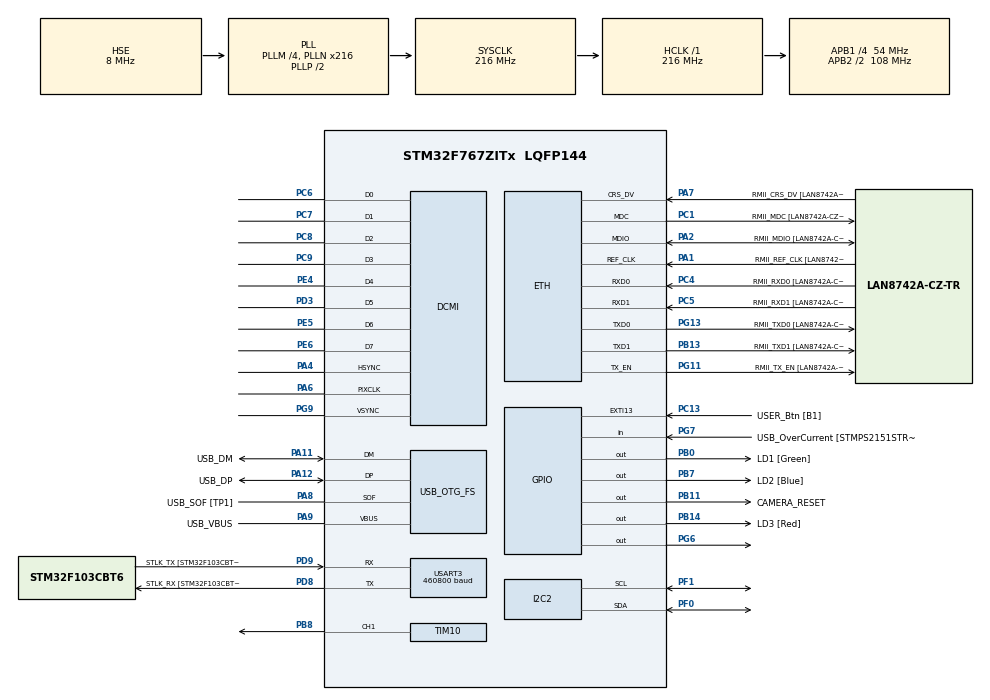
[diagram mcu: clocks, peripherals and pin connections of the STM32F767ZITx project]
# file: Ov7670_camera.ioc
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DCMI.ByteSelectMode=DCMI_BSM_ALL
DCMI.JPEGMode=DCMI_JPEG_DISABLE
DCMI.PCKPolarity=DCMI_PCKPOLARITY_RISING
DCMI.VSPolarity=DCMI_VSPOLARITY_HIGH
Dma.DCMI.0.Direction=DMA_PERIPH_TO_MEMORY
Dma.DCMI.0.FIFOMode=DMA_FIFOMODE_DISABLE
Dma.DCMI.0.Instance=DMA2_Stream1
Dma.DCMI.0.MemDataAlignment=DMA_MDATAALIGN_WORD
Dma.DCMI.0.MemInc=DMA_MINC_ENABLE
Dma.DCMI.0.Mode=DMA_CIRCULAR
Dma.DCMI.0.PeriphDataAlignment=DMA_PDATAALIGN_WORD
Dma.DCMI.0.PeriphInc=DMA_PINC_DISABLE
Dma.DCMI.0.Priority=DMA_PRIORITY_VERY_HIGH
Dma.Request0=DCMI
ETH.MediaInterface=HAL_ETH_RMII_MODE
ETH.PHY_Name=LAN8742A_PHY_ADDRESS
ETH.PHY_Value=0
ETH.PhyAddress=0
I2C2.Timing=0x20404768
JPEG.JPEG_RGB_FORMAT=JPEG_RGB565
JPEG.USE_JPEG_DECODER=0
Mcu.Family=STM32F7
Mcu.Name=STM32F767ZITx
Mcu.Package=LQFP144
NVIC.DCMI_IRQn=true\:0\:0\:false\:false\:true\:true\:true\:true
NVIC.DMA2_Stream1_IRQn=true\:0\:0\:false\:false\:true\:false\:true\:true
NVIC.JPEG_IRQn=true\:0\:0\:false\:false\:true\:true\:true\:true
NVIC.PriorityGroup=NVIC_PRIORITYGROUP_4
PA1.GPIO_Label=RMII_REF_CLK [LAN8742A-CZ-TR_REFCLK0]
PA1.Mode=RMII
PA1.Signal=ETH_REF_CLK
PA10.GPIO_Label=USB_ID
PA10.Signal=USB_OTG_FS_ID
PA11.GPIO_Label=USB_DM
PA11.Mode=Device_Only
PA11.Signal=USB_OTG_FS_DM
PA12.GPIO_Label=USB_DP
PA12.Mode=Device_Only
PA12.Signal=USB_OTG_FS_DP
PA13.GPIO_Label=TMS
PA13.Mode=Serial_Wire
PA13.Signal=SYS_JTMS-SWDIO
PA14.GPIO_Label=TCK
PA14.Mode=Serial_Wire
PA14.Signal=SYS_JTCK-SWCLK
PA2.GPIO_Label=RMII_MDIO [LAN8742A-CZ-TR_MDIO]
PA2.Mode=RMII
PA2.Signal=ETH_MDIO
PA4.Mode=Slave_8_bits_External_Synchro
PA4.Signal=DCMI_HSYNC
PA6.Mode=Slave_8_bits_External_Synchro
PA6.Signal=DCMI_PIXCLK
PA7.GPIO_Label=RMII_CRS_DV [LAN8742A-CZ-TR_CRS_DV]
PA7.Mode=RMII
PA7.Signal=ETH_CRS_DV
PA8.GPIO_Label=USB_SOF [TP1]
PA8.Mode=Activate_SOF_FS
PA8.Signal=USB_OTG_FS_SOF
PA9.GPIO_Label=USB_VBUS
PA9.Mode=Activate_VBUS
PA9.Signal=USB_OTG_FS_VBUS
PB0.GPIO_Label=LD1 [Green]
PB0.Signal=GPIO_Output
PB11.GPIO_Label=CAMERA_RESET
PB11.GPIO_PuPd=GPIO_PULLUP
PB11.Signal=GPIO_Output
PB13.GPIO_Label=RMII_TXD1 [LAN8742A-CZ-TR_TXD1]
PB13.Mode=RMII
PB13.Signal=ETH_TXD1
PB14.GPIO_Label=LD3 [Red]
PB14.Signal=GPIO_Output
PB3.GPIO_Label=SWO
PB3.Signal=SYS_JTDO-SWO
PB7.GPIO_Label=LD2 [Blue]
PB7.Signal=GPIO_Output
PB8.Signal=S_TIM10_CH1
PC1.GPIO_Label=RMII_MDC [LAN8742A-CZ-TR_MDC]
PC1.Mode=RMII
PC1.Signal=ETH_MDC
PC13.GPIO_Label=USER_Btn [B1]
PC13.Signal=GPXTI13
PC14/OSC32_IN.Mode=LSE-External-Oscillator
PC14/OSC32_IN.Signal=RCC_OSC32_IN
PC15/OSC32_OUT.Mode=LSE-External-Oscillator
PC15/OSC32_OUT.Signal=RCC_OSC32_OUT
PC4.GPIO_Label=RMII_RXD0 [LAN8742A-CZ-TR_RXD0]
PC4.Mode=RMII
PC4.Signal=ETH_RXD0
PC5.GPIO_Label=RMII_RXD1 [LAN8742A-CZ-TR_RXD1]
PC5.Mode=RMII
PC5.Signal=ETH_RXD1
PC6.Mode=Slave_8_bits_External_Synchro
PC6.Signal=DCMI_D0
PC7.Mode=Slave_8_bits_External_Synchro
PC7.Signal=DCMI_D1
PC8.Mode=Slave_8_bits_External_Synchro
PC8.Signal=DCMI_D2
PC9.Mode=Slave_8_bits_External_Synchro
PC9.Signal=DCMI_D3
PD3.Mode=Slave_8_bits_External_Synchro
PD3.Signal=DCMI_D5
PD8.GPIO_Label=STLK_RX [STM32F103CBT6_PA3]
PD8.Mode=Asynchronous
PD8.Signal=USART3_TX
PD9.GPIO_Label=STLK_TX [STM32F103CBT6_PA2]
PD9.Mode=Asynchronous
PD9.Signal=USART3_RX
PE4.Mode=Slave_8_bits_External_Synchro
PE4.Signal=DCMI_D4
PE5.Mode=Slave_8_bits_External_Synchro
PE5.Signal=DCMI_D6
PE6.Mode=Slave_8_bits_External_Synchro
PE6.Signal=DCMI_D7
PF0.GPIO_Pu=GPIO_PULLUP
PF0.Mode=I2C
PF0.Signal=I2C2_SDA
PF1.GPIO_Pu=GPIO_PULLUP
PF1.Mode=I2C
PF1.Signal=I2C2_SCL
PG11.GPIO_Label=RMII_TX_EN [LAN8742A-CZ-TR_TXEN]
PG11.Mode=RMII
PG11.Signal=ETH_TX_EN
PG13.GPIO_Label=RMII_TXD0 [LAN8742A-CZ-TR_TXD0]
PG13.Mode=RMII
PG13.Signal=ETH_TXD0
PG6.Signal=GPIO_Output
PG7.GPIO_Label=USB_OverCurrent [STMPS2151STR_FAULT]
PG7.Signal=GPIO_Input
PG9.Mode=Slave_8_bits_External_Synchro
PG9.Signal=DCMI_VSYNC
PH0/OSC_IN.GPIO_Label=MCO [STM32F103CBT6_PA8]
PH0/OSC_IN.Mode=HSE-External-Clock-Source
PH0/OSC_IN.Signal=RCC_OSC_IN
PH1/OSC_OUT.Mode=HSE-External-Clock-Source
PH1/OSC_OUT.Signal=RCC_OSC_OUT
ProjectManager.HeapSize=0x200
ProjectManager.StackSize=0x400
ProjectManager.TargetToolchain=STM32CubeIDE
RCC.48MHZClocksFreq_Value=24000000
RCC.AHBFreq_Value=216000000
RCC.APB1CLKDivider=RCC_HCLK_DIV4
RCC.APB1Freq_Value=54000000
RCC.APB1TimFreq_Value=108000000
RCC.APB2CLKDivider=RCC_HCLK_DIV2
RCC.APB2Freq_Value=108000000
RCC.APB2TimFreq_Value=216000000
RCC.CortexFreq_Value=216000000
RCC.HCLKFreq_Value=216000000
RCC.HSE_VALUE=8000000
RCC.HSI_VALUE=16000000
RCC.PLLM=4
RCC.PLLMUL=RCC_PLL_MUL9
RCC.PLLN=216
RCC.PLLQ=9
RCC.PRESCALERUSB=RCC_USBCLKSOURCE_PLL_DIV1_5
RCC.SYSCLKFreq_VALUE=216000000
RCC.SYSCLKSource=RCC_SYSCLKSOURCE_PLLCLK
RCC.SYSCLKSourceVirtual=RCC_SYSCLKSOURCE_PLLCLK
RCC.USBFreq_Value=48000000
RCC.VCOOutputFreq_Value=432000000
SH.S_TIM10_CH1.0=TIM10_CH1,Output Compare1 CH1
TIM10.Channel=TIM_CHANNEL_1
TIM10.OCMode_1=TIM_OCMODE_TOGGLE
TIM10.Period=5-1
TIM10.Pulse=1
USART3.BaudRate=460800
USART3.OverSampling=UART_OVERSAMPLING_8
USART3.VirtualMode-Asynchronous=VM_ASYNC
USB_OTG_FS.VirtualMode=Device_Only
VP_JPEG_VS_JPEG.Mode=JPEG_Activate
VP_TIM10_VS_ClockSourceINT.Mode=Enable_Timer
board=NUCLEO-F767ZI

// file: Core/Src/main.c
/* USER CODE BEGIN Header */
/**
  ******************************************************************************
  * @file           : main.c
  * @brief          : Main program body
  ******************************************************************************
  * @attention
  *
  * Copyright (c) 2023 STMicroelectronics.
  * All rights reserved.
  *
  * This software is licensed under terms that can be found in the LICENSE file
  * in the root directory of this software component.
  * If no LICENSE file comes with this software, it is provided AS-IS.
  *
  ******************************************************************************
  */
/* USER CODE END Header */
#include "main.h"
#include "dcmi.h"
#include "dma.h"
#include "eth.h"
#include "i2c.h"
#include "jpeg.h"
#include "tim.h"
#include "usart.h"
#include "usb_otg.h"
#include "gpio.h"

/* USER CODE BEGIN Includes */
#include "gpio.h"
#include "tim.h"
#include "dcmi.h"
#include "ov7670.h"
/* USER CODE END Includes */

/* USER CODE BEGIN PM */
uint8_t imagebuf[OV7670_WIDTH * OV7670_HEIGHT *2];
uint8_t tempbuf[OV7670_WIDTH * OV7670_HEIGHT ];
extern uint32_t frame_received;
/* USER CODE END PM */

void SystemClock_Config(void);

int main(void)
{
  /* USER CODE BEGIN 1 */
int i = 0;
uint32_t start;
uint32_t timed;

  /* USER CODE END 1 */

  /* MCU Configuration--------------------------------------------------------*/

  /* Reset of all peripherals, Initializes the Flash interface and the Systick. */
  HAL_Init();

  /* Configure the system clock */
  SystemClock_Config();

  /* Initialize all configured peripherals */
  MX_GPIO_Init();
  MX_DMA_Init();
  MX_USART3_UART_Init();
  MX_USB_OTG_FS_PCD_Init();
  MX_DCMI_Init();
  MX_I2C2_Init();
  MX_ETH_Init();
  MX_TIM10_Init();
  MX_JPEG_Init();
  /* USER CODE BEGIN 2 */

  HAL_TIM_OC_Start(&htim10, TIM_CHANNEL_1);
  ov7670_init(&hdcmi, &hdma_dcmi, &hi2c2);
  ov7670_config(0u);
  ov7670_startCap(OV7670_CAP_CONTINUOUS, (uint32_t)imagebuf);
  HAL_Delay(20000);
  if (frame_received){
	  start = HAL_GetTick();
	  frame_received = 0;
	  for (i = 1; i<= (OV7670_WIDTH * OV7670_HEIGHT *2); i+=2){
		  tempbuf[i/2]=imagebuf[i];
	  }
	  HAL_UART_Transmit(&huart3, tempbuf, OV7670_WIDTH * OV7670_HEIGHT/2, 1000);
	  HAL_UART_Transmit(&huart3, &tempbuf[OV7670_WIDTH * OV7670_HEIGHT/2],
			  OV7670_WIDTH * OV7670_HEIGHT/2, 1000);
	  timed = HAL_GetTick() - start;

  }
  /* USER CODE END 2 */

  /* Infinite loop */
  /* USER CODE BEGIN WHILE */
  while (1)
  {
#if 0
	  if (frame_received){
		  start = HAL_GetTick();
		  frame_received = 0;
		  for (i = 1; i<= (OV7670_QVGA_WIDTH * OV7670_QVGA_HEIGHT *2); i+=2){
			  tempbuf[i/2]=imagebuf[i];
		  }
		  HAL_UART_Transmit(&huart3, tempbuf, OV7670_WIDTH * OV7670_HEIGHT/2, 1000);
		  HAL_UART_Transmit(&huart3, &tempbuf[OV7670_WIDTH * OV7670_HEIGHT/2],
				  OV7670_WIDTH * OV7670_HEIGHT/2, 1000);
		  timed = HAL_GetTick() - start;

	  }
#endif
    /* USER CODE END WHILE */

  }
}

void SystemClock_Config(void)
{
  RCC_OscInitTypeDef RCC_OscInitStruct = {0};
  RCC_ClkInitTypeDef RCC_ClkInitStruct = {0};

  /** Configure LSE Drive Capability
  */
  HAL_PWR_EnableBkUpAccess();

  /** Configure the main internal regulator output voltage
  */
  __HAL_RCC_PWR_CLK_ENABLE();
  __HAL_PWR_VOLTAGESCALING_CONFIG(PWR_REGULATOR_VOLTAGE_SCALE1);

  /** Initializes the RCC Oscillators according to the specified parameters
  * in the RCC_OscInitTypeDef structure.
  */
  RCC_OscInitStruct.OscillatorType = RCC_OSCILLATORTYPE_HSE;
  RCC_OscInitStruct.HSEState = RCC_HSE_BYPASS;
  RCC_OscInitStruct.PLL.PLLState = RCC_PLL_ON;
  RCC_OscInitStruct.PLL.PLLSource = RCC_PLLSOURCE_HSE;
  RCC_OscInitStruct.PLL.PLLM = 4;
  RCC_OscInitStruct.PLL.PLLN = 216;
  RCC_OscInitStruct.PLL.PLLP = RCC_PLLP_DIV2;
  RCC_OscInitStruct.PLL.PLLQ = 9;
  RCC_OscInitStruct.PLL.PLLR = 2;
  if (HAL_RCC_OscConfig(&RCC_OscInitStruct) != HAL_OK)
  {
    Error_Handler();
  }

  /** Activate the Over-Drive mode
  */
  if (HAL_PWREx_EnableOverDrive() != HAL_OK)
  {
    Error_Handler();
  }

  /** Initializes the CPU, AHB and APB buses clocks
  */
  RCC_ClkInitStruct.ClockType = RCC_CLOCKTYPE_HCLK|RCC_CLOCKTYPE_SYSCLK
                              |RCC_CLOCKTYPE_PCLK1|RCC_CLOCKTYPE_PCLK2;
  RCC_ClkInitStruct.SYSCLKSource = RCC_SYSCLKSOURCE_PLLCLK;
  RCC_ClkInitStruct.AHBCLKDivider = RCC_SYSCLK_DIV1;
  RCC_ClkInitStruct.APB1CLKDivider = RCC_HCLK_DIV4;
  RCC_ClkInitStruct.APB2CLKDivider = RCC_HCLK_DIV2;

  if (HAL_RCC_ClockConfig(&RCC_ClkInitStruct, FLASH_LATENCY_7) != HAL_OK)
  {
    Error_Handler();
  }
}

void Error_Handler(void)
{
  __disable_irq();
  while (1)
  {
  }
}
